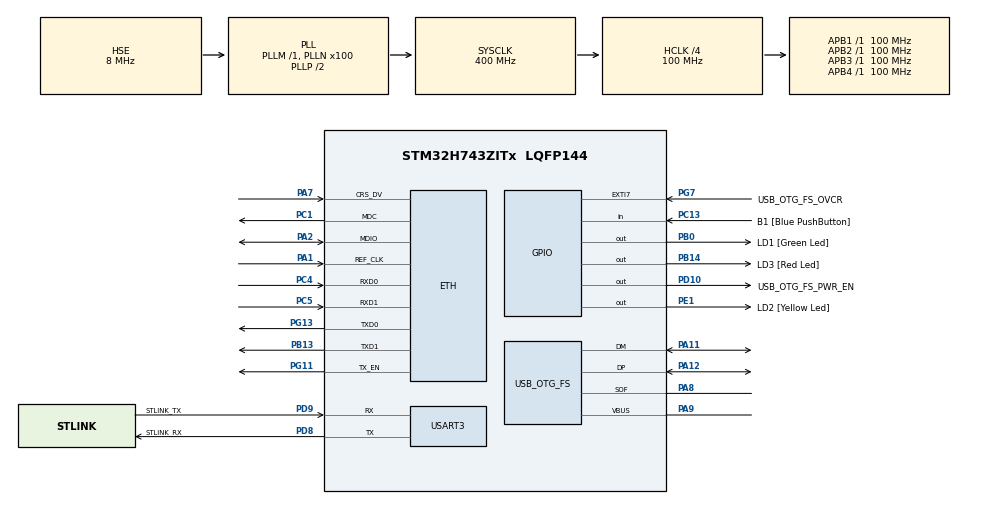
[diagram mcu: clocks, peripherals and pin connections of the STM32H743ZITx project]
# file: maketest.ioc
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ETH.MediaInterface=HAL_ETH_RMII_MODE
Mcu.Family=STM32H7
Mcu.Name=STM32H743ZITx
Mcu.Package=LQFP144
NVIC.PriorityGroup=NVIC_PRIORITYGROUP_4
NVIC.USART3_IRQn=true\:0\:0\:false\:false\:true\:true\:true
PA1.Mode=RMII
PA1.Signal=ETH_REF_CLK
PA11.Mode=Device_Only
PA11.Signal=USB_OTG_FS_DM
PA12.Mode=Device_Only
PA12.Signal=USB_OTG_FS_DP
PA13\ (JTMS/SWDIO).Mode=Trace_Asynchronous_SW
PA13\ (JTMS/SWDIO).Signal=DEBUG_JTMS-SWDIO
PA14\ (JTCK/SWCLK).Mode=Trace_Asynchronous_SW
PA14\ (JTCK/SWCLK).Signal=DEBUG_JTCK-SWCLK
PA2.Mode=RMII
PA2.Signal=ETH_MDIO
PA7.Mode=RMII
PA7.Signal=ETH_CRS_DV
PA8.Mode=Activate_SOF_FS
PA8.Signal=USB_OTG_FS_SOF
PA9.Mode=Activate_VBUS
PA9.Signal=USB_OTG_FS_VBUS
PB0.GPIO_Label=LD1 [Green Led]
PB0.Signal=GPIO_Output
PB13.Mode=RMII
PB13.Signal=ETH_TXD1
PB14.GPIO_Label=LD3 [Red Led]
PB14.Signal=GPIO_Output
PB3\ (JTDO/TRACESWO).Mode=Trace_Asynchronous_SW
PB3\ (JTDO/TRACESWO).Signal=DEBUG_JTDO-SWO
PC1.Mode=RMII
PC1.Signal=ETH_MDC
PC13.GPIO_Label=B1 [Blue PushButton]
PC13.Signal=GPIO_Input
PC14-OSC32_IN\ (OSC32_IN).Mode=LSE-External-Oscillator
PC14-OSC32_IN\ (OSC32_IN).Signal=RCC_OSC32_IN
PC15-OSC32_OUT\ (OSC32_OUT).Mode=LSE-External-Oscillator
PC15-OSC32_OUT\ (OSC32_OUT).Signal=RCC_OSC32_OUT
PC4.Mode=RMII
PC4.Signal=ETH_RXD0
PC5.Mode=RMII
PC5.Signal=ETH_RXD1
PD10.GPIO_Label=USB_OTG_FS_PWR_EN
PD10.Signal=GPIO_Output
PD8.GPIO_Label=STLINK_RX
PD8.Mode=Asynchronous
PD8.Signal=USART3_TX
PD9.GPIO_Label=STLINK_TX
PD9.Mode=Asynchronous
PD9.Signal=USART3_RX
PE1.GPIO_Label=LD2 [Yellow Led]
PE1.Signal=GPIO_Output
PG11.Mode=RMII
PG11.Signal=ETH_TX_EN
PG13.Mode=RMII
PG13.Signal=ETH_TXD0
PG7.GPIO_Label=USB_OTG_FS_OVCR
PG7.Signal=GPXTI7
PH0-OSC_IN\ (PH0).Mode=HSE-External-Clock-Source
PH0-OSC_IN\ (PH0).Signal=RCC_OSC_IN
PH1-OSC_OUT\ (PH1).Mode=HSE-External-Clock-Source
PH1-OSC_OUT\ (PH1).Signal=RCC_OSC_OUT
ProjectManager.HeapSize=0x200
ProjectManager.StackSize=0x400
ProjectManager.TargetToolchain=Makefile
RCC.ADCFreq_Value=16125000
RCC.APB1Freq_Value=100000000
RCC.APB2Freq_Value=100000000
RCC.APB3Freq_Value=100000000
RCC.APB4Freq_Value=100000000
RCC.CortexFreq_Value=400000000
RCC.DIVM1=1
RCC.DIVM3=1
RCC.DIVN1=100
RCC.DIVN3=24
RCC.DIVQ3=4
RCC.HCLKFreq_Value=100000000
RCC.HPRE=RCC_HCLK_DIV4
RCC.HSE_VALUE=8000000
RCC.PLL2FRACN=0
RCC.PLL3FRACN=0
RCC.PLLFRACN=0
RCC.SYSCLKFreq_VALUE=400000000
RCC.SYSCLKSource=RCC_SYSCLKSOURCE_PLLCLK
RCC.USBCLockSelection=RCC_USBCLKSOURCE_PLL3
RCC.USBFreq_Value=48000000
USART3.FIFOMode=FIFOMODE_DISABLE
USART3.OverrunDisableParam=ADVFEATURE_OVERRUN_DISABLE
USART3.VirtualMode-Asynchronous=VM_ASYNC
USB_OTG_FS.VirtualMode=Device_Only
VP_CRC_VS_CRC.Mode=CRC_Activate
VP_RTC_VS_RTC_Activate.Mode=RTC_Enabled
board=NUCLEO-H743ZI2

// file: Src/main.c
/* USER CODE BEGIN Header */
/**
  ******************************************************************************
  * @file           : main.c
  * @brief          : Main program body
  ******************************************************************************
  * @attention
  *
  * <h2><center>&copy; Copyright (c) 2019 STMicroelectronics.
  * All rights reserved.</center></h2>
  *
  * This software component is licensed by ST under BSD 3-Clause license,
  * the "License"; You may not use this file except in compliance with the
  * License. You may obtain a copy of the License at:
  *                        opensource.org/licenses/BSD-3-Clause
  *
  ******************************************************************************
  */
/* USER CODE END Header */

#include "main.h"
#include "string.h"

/* USER CODE BEGIN Includes */
#include "uart_test.h"
/* USER CODE END Includes */

#if defined ( __ICCARM__ ) /*!< IAR Compiler */

#pragma location=0x30040000
ETH_DMADescTypeDef  DMARxDscrTab[ETH_RX_DESC_CNT]; /* Ethernet Rx DMA Descriptors */
#pragma location=0x30040060
ETH_DMADescTypeDef  DMATxDscrTab[ETH_TX_DESC_CNT]; /* Ethernet Tx DMA Descriptors */
#pragma location=0x30040200
uint8_t Rx_Buff[ETH_RX_DESC_CNT][ETH_MAX_PACKET_SIZE]; /* Ethernet Receive Buffers */

#elif defined ( __CC_ARM )  /* MDK ARM Compiler */

__attribute__((at(0x30040000))) ETH_DMADescTypeDef  DMARxDscrTab[ETH_RX_DESC_CNT]; /* Ethernet Rx DMA Descriptors */
__attribute__((at(0x30040060))) ETH_DMADescTypeDef  DMATxDscrTab[ETH_TX_DESC_CNT]; /* Ethernet Tx DMA Descriptors */
__attribute__((at(0x30040200))) uint8_t Rx_Buff[ETH_RX_DESC_CNT][ETH_MAX_PACKET_SIZE]; /* Ethernet Receive Buffer */

#elif defined ( __GNUC__ ) /* GNU Compiler */

ETH_DMADescTypeDef DMARxDscrTab[ETH_RX_DESC_CNT] __attribute__((section(".RxDecripSection"))); /* Ethernet Rx DMA Descriptors */
ETH_DMADescTypeDef DMATxDscrTab[ETH_TX_DESC_CNT] __attribute__((section(".TxDecripSection")));   /* Ethernet Tx DMA Descriptors */
uint8_t Rx_Buff[ETH_RX_DESC_CNT][ETH_MAX_PACKET_SIZE] __attribute__((section(".RxArraySection"))); /* Ethernet Receive Buffers */

#endif

ETH_TxPacketConfig TxConfig;

CRC_HandleTypeDef hcrc;

ETH_HandleTypeDef heth;

RTC_HandleTypeDef hrtc;

UART_HandleTypeDef huart3;

PCD_HandleTypeDef hpcd_USB_OTG_FS;

void SystemClock_Config(void);
static void MX_GPIO_Init(void);
static void MX_ETH_Init(void);
static void MX_USART3_UART_Init(void);
static void MX_USB_OTG_FS_PCD_Init(void);
static void MX_RTC_Init(void);
static void MX_CRC_Init(void);

/* USER CODE BEGIN 0 */
#include <stdio.h>
int _write(int file, char *ptr, int len)
{
  HAL_UART_Transmit(&huart3, (uint8_t*)ptr, len, 0xFF);

  for (int i = 0 ; i < len ; i++)
  {
    ITM_SendChar((*ptr++));
  }

  return len;
}

#define LD1_SET(enable) HAL_GPIO_WritePin(LD1_GPIO_Port, LD1_Pin, (enable?GPIO_PIN_SET:GPIO_PIN_RESET));
#define LD2_SET(enable) HAL_GPIO_WritePin(LD2_GPIO_Port, LD2_Pin, (enable?GPIO_PIN_SET:GPIO_PIN_RESET));
#define LD3_SET(enable) HAL_GPIO_WritePin(LD3_GPIO_Port, LD3_Pin, (enable?GPIO_PIN_SET:GPIO_PIN_RESET));

/* USER CODE END 0 */

int main(void)
{

  /* MCU Configuration--------------------------------------------------------*/

  /* Reset of all peripherals, Initializes the Flash interface and the Systick. */
  HAL_Init();

  /* Configure the system clock */
  SystemClock_Config();

  /* Initialize all configured peripherals */
  MX_GPIO_Init();
  MX_ETH_Init();
  MX_USART3_UART_Init();
  MX_USB_OTG_FS_PCD_Init();
  MX_RTC_Init();
  MX_CRC_Init();

  /* Infinite loop */
  /* USER CODE BEGIN WHILE */
  while (1)
  {
#if 1
    //printf("on\r\n");
    LD1_SET(1);  HAL_Delay(100);
    LD2_SET(1);  HAL_Delay(100);
    LD3_SET(1);  HAL_Delay(100);

    //printf("off\r\n");
    LD1_SET(0); HAL_Delay(100);
    LD2_SET(0); HAL_Delay(100);
    LD3_SET(0); HAL_Delay(100);
#endif

    uart_ISR_test(&huart3);

    /* USER CODE END WHILE */

  }
}

void SystemClock_Config(void)
{
  RCC_OscInitTypeDef RCC_OscInitStruct = {0};
  RCC_ClkInitTypeDef RCC_ClkInitStruct = {0};
  RCC_PeriphCLKInitTypeDef PeriphClkInitStruct = {0};

  /** Supply configuration update enable
  */
  HAL_PWREx_ConfigSupply(PWR_LDO_SUPPLY);
  /** Configure the main internal regulator output voltage
  */
  __HAL_PWR_VOLTAGESCALING_CONFIG(PWR_REGULATOR_VOLTAGE_SCALE1);

  while (!__HAL_PWR_GET_FLAG(PWR_FLAG_VOSRDY)) {}
  /** Macro to configure the PLL clock source
  */
  __HAL_RCC_PLL_PLLSOURCE_CONFIG(RCC_PLLSOURCE_HSE);
  /** Initializes the CPU, AHB and APB busses clocks
  */
  RCC_OscInitStruct.OscillatorType = RCC_OSCILLATORTYPE_LSI | RCC_OSCILLATORTYPE_HSE;
  RCC_OscInitStruct.HSEState = RCC_HSE_BYPASS;
  RCC_OscInitStruct.LSIState = RCC_LSI_ON;
  RCC_OscInitStruct.PLL.PLLState = RCC_PLL_ON;
  RCC_OscInitStruct.PLL.PLLSource = RCC_PLLSOURCE_HSE;
  RCC_OscInitStruct.PLL.PLLM = 1;
  RCC_OscInitStruct.PLL.PLLN = 100;
  RCC_OscInitStruct.PLL.PLLP = 2;
  RCC_OscInitStruct.PLL.PLLQ = 2;
  RCC_OscInitStruct.PLL.PLLR = 2;
  RCC_OscInitStruct.PLL.PLLRGE = RCC_PLL1VCIRANGE_3;
  RCC_OscInitStruct.PLL.PLLVCOSEL = RCC_PLL1VCOWIDE;
  RCC_OscInitStruct.PLL.PLLFRACN = 0;
  if (HAL_RCC_OscConfig(&RCC_OscInitStruct) != HAL_OK)
  {
    Error_Handler();
  }
  /** Initializes the CPU, AHB and APB busses clocks
  */
  RCC_ClkInitStruct.ClockType = RCC_CLOCKTYPE_HCLK | RCC_CLOCKTYPE_SYSCLK
                                | RCC_CLOCKTYPE_PCLK1 | RCC_CLOCKTYPE_PCLK2
                                | RCC_CLOCKTYPE_D3PCLK1 | RCC_CLOCKTYPE_D1PCLK1;
  RCC_ClkInitStruct.SYSCLKSource = RCC_SYSCLKSOURCE_PLLCLK;
  RCC_ClkInitStruct.SYSCLKDivider = RCC_SYSCLK_DIV1;
  RCC_ClkInitStruct.AHBCLKDivider = RCC_HCLK_DIV4;
  RCC_ClkInitStruct.APB3CLKDivider = RCC_APB3_DIV1;
  RCC_ClkInitStruct.APB1CLKDivider = RCC_APB1_DIV1;
  RCC_ClkInitStruct.APB2CLKDivider = RCC_APB2_DIV1;
  RCC_ClkInitStruct.APB4CLKDivider = RCC_APB4_DIV1;

  if (HAL_RCC_ClockConfig(&RCC_ClkInitStruct, FLASH_LATENCY_1) != HAL_OK)
  {
    Error_Handler();
  }
  PeriphClkInitStruct.PeriphClockSelection = RCC_PERIPHCLK_RTC | RCC_PERIPHCLK_USART3
      | RCC_PERIPHCLK_USB;
  PeriphClkInitStruct.PLL3.PLL3M = 1;
  PeriphClkInitStruct.PLL3.PLL3N = 24;
  PeriphClkInitStruct.PLL3.PLL3P = 2;
  PeriphClkInitStruct.PLL3.PLL3Q = 4;
  PeriphClkInitStruct.PLL3.PLL3R = 2;
  PeriphClkInitStruct.PLL3.PLL3RGE = RCC_PLL3VCIRANGE_3;
  PeriphClkInitStruct.PLL3.PLL3VCOSEL = RCC_PLL3VCOWIDE;
  PeriphClkInitStruct.PLL3.PLL3FRACN = 0;
  PeriphClkInitStruct.Usart234578ClockSelection = RCC_USART234578CLKSOURCE_D2PCLK1;
  PeriphClkInitStruct.UsbClockSelection = RCC_USBCLKSOURCE_PLL3;
  PeriphClkInitStruct.RTCClockSelection = RCC_RTCCLKSOURCE_LSI;
  if (HAL_RCCEx_PeriphCLKConfig(&PeriphClkInitStruct) != HAL_OK)
  {
    Error_Handler();
  }
  /** Enable USB Voltage detector
  */
  HAL_PWREx_EnableUSBVoltageDetector();
}

static void MX_CRC_Init(void)
{

  hcrc.Instance = CRC;
  hcrc.Init.DefaultPolynomialUse = DEFAULT_POLYNOMIAL_ENABLE;
  hcrc.Init.DefaultInitValueUse = DEFAULT_INIT_VALUE_ENABLE;
  hcrc.Init.InputDataInversionMode = CRC_INPUTDATA_INVERSION_NONE;
  hcrc.Init.OutputDataInversionMode = CRC_OUTPUTDATA_INVERSION_DISABLE;
  hcrc.InputDataFormat = CRC_INPUTDATA_FORMAT_BYTES;
  if (HAL_CRC_Init(&hcrc) != HAL_OK)
  {
    Error_Handler();
  }

}

static void MX_ETH_Init(void)
{

  heth.Instance = ETH;
  heth.Init.MACAddr[0] =   0x00;
  heth.Init.MACAddr[1] =   0x80;
  heth.Init.MACAddr[2] =   0xE1;
  heth.Init.MACAddr[3] =   0x00;
  heth.Init.MACAddr[4] =   0x00;
  heth.Init.MACAddr[5] =   0x00;
  heth.Init.MediaInterface = HAL_ETH_RMII_MODE;
  heth.Init.TxDesc = DMATxDscrTab;
  heth.Init.RxDesc = DMARxDscrTab;
  heth.Init.RxBuffLen = 1524;

  if (HAL_ETH_Init(&heth) != HAL_OK)
  {
    Error_Handler();
  }

  memset(&TxConfig, 0 , sizeof(ETH_TxPacketConfig));
  TxConfig.Attributes = ETH_TX_PACKETS_FEATURES_CSUM | ETH_TX_PACKETS_FEATURES_CRCPAD;
  TxConfig.ChecksumCtrl = ETH_CHECKSUM_IPHDR_PAYLOAD_INSERT_PHDR_CALC;
  TxConfig.CRCPadCtrl = ETH_CRC_PAD_INSERT;

}

static void MX_RTC_Init(void)
{

  /** Initialize RTC Only
  */
  hrtc.Instance = RTC;
  hrtc.Init.HourFormat = RTC_HOURFORMAT_24;
  hrtc.Init.AsynchPrediv = 127;
  hrtc.Init.SynchPrediv = 255;
  hrtc.Init.OutPut = RTC_OUTPUT_DISABLE;
  hrtc.Init.OutPutPolarity = RTC_OUTPUT_POLARITY_HIGH;
  hrtc.Init.OutPutType = RTC_OUTPUT_TYPE_OPENDRAIN;
  hrtc.Init.OutPutRemap = RTC_OUTPUT_REMAP_NONE;
  if (HAL_RTC_Init(&hrtc) != HAL_OK)
  {
    Error_Handler();
  }

}

static void MX_USART3_UART_Init(void)
{

  huart3.Instance = USART3;
  huart3.Init.BaudRate = 115200;
  huart3.Init.WordLength = UART_WORDLENGTH_8B;
  huart3.Init.StopBits = UART_STOPBITS_1;
  huart3.Init.Parity = UART_PARITY_NONE;
  huart3.Init.Mode = UART_MODE_TX_RX;
  huart3.Init.HwFlowCtl = UART_HWCONTROL_NONE;
  huart3.Init.OverSampling = UART_OVERSAMPLING_16;
  huart3.Init.OneBitSampling = UART_ONE_BIT_SAMPLE_DISABLE;
  huart3.Init.ClockPrescaler = UART_PRESCALER_DIV1;
  huart3.AdvancedInit.AdvFeatureInit = UART_ADVFEATURE_RXOVERRUNDISABLE_INIT;
  huart3.AdvancedInit.OverrunDisable = UART_ADVFEATURE_OVERRUN_DISABLE;
  if (HAL_UART_Init(&huart3) != HAL_OK)
  {
    Error_Handler();
  }
  if (HAL_UARTEx_SetTxFifoThreshold(&huart3, UART_TXFIFO_THRESHOLD_1_8) != HAL_OK)
  {
    Error_Handler();
  }
  if (HAL_UARTEx_SetRxFifoThreshold(&huart3, UART_RXFIFO_THRESHOLD_1_8) != HAL_OK)
  {
    Error_Handler();
  }
  if (HAL_UARTEx_DisableFifoMode(&huart3) != HAL_OK)
  {
    Error_Handler();
  }

}

static void MX_USB_OTG_FS_PCD_Init(void)
{

  hpcd_USB_OTG_FS.Instance = USB_OTG_FS;
  hpcd_USB_OTG_FS.Init.dev_endpoints = 9;
  hpcd_USB_OTG_FS.Init.speed = PCD_SPEED_FULL;
  hpcd_USB_OTG_FS.Init.dma_enable = DISABLE;
  hpcd_USB_OTG_FS.Init.phy_itface = PCD_PHY_EMBEDDED;
  hpcd_USB_OTG_FS.Init.Sof_enable = ENABLE;
  hpcd_USB_OTG_FS.Init.low_power_enable = DISABLE;
  hpcd_USB_OTG_FS.Init.lpm_enable = DISABLE;
  hpcd_USB_OTG_FS.Init.battery_charging_enable = ENABLE;
  hpcd_USB_OTG_FS.Init.vbus_sensing_enable = ENABLE;
  hpcd_USB_OTG_FS.Init.use_dedicated_ep1 = DISABLE;
  if (HAL_PCD_Init(&hpcd_USB_OTG_FS) != HAL_OK)
  {
    Error_Handler();
  }

}

static void MX_GPIO_Init(void)
{
  GPIO_InitTypeDef GPIO_InitStruct = {0};

  /* GPIO Ports Clock Enable */
  __HAL_RCC_GPIOC_CLK_ENABLE();
  __HAL_RCC_GPIOH_CLK_ENABLE();
  __HAL_RCC_GPIOA_CLK_ENABLE();
  __HAL_RCC_GPIOB_CLK_ENABLE();
  __HAL_RCC_GPIOD_CLK_ENABLE();
  __HAL_RCC_GPIOG_CLK_ENABLE();
  __HAL_RCC_GPIOE_CLK_ENABLE();

  /*Configure GPIO pin Output Level */
  HAL_GPIO_WritePin(GPIOB, LD1_Pin | LD3_Pin, GPIO_PIN_RESET);

  /*Configure GPIO pin Output Level */
  HAL_GPIO_WritePin(USB_OTG_FS_PWR_EN_GPIO_Port, USB_OTG_FS_PWR_EN_Pin, GPIO_PIN_RESET);

  /*Configure GPIO pin Output Level */
  HAL_GPIO_WritePin(LD2_GPIO_Port, LD2_Pin, GPIO_PIN_RESET);

  /*Configure GPIO pin : B1_Pin */
  GPIO_InitStruct.Pin = B1_Pin;
  GPIO_InitStruct.Mode = GPIO_MODE_INPUT;
  GPIO_InitStruct.Pull = GPIO_NOPULL;
  HAL_GPIO_Init(B1_GPIO_Port, &GPIO_InitStruct);

  /*Configure GPIO pins : LD1_Pin LD3_Pin */
  GPIO_InitStruct.Pin = LD1_Pin | LD3_Pin;
  GPIO_InitStruct.Mode = GPIO_MODE_OUTPUT_PP;
  GPIO_InitStruct.Pull = GPIO_NOPULL;
  GPIO_InitStruct.Speed = GPIO_SPEED_FREQ_LOW;
  HAL_GPIO_Init(GPIOB, &GPIO_InitStruct);

  /*Configure GPIO pin : USB_OTG_FS_PWR_EN_Pin */
  GPIO_InitStruct.Pin = USB_OTG_FS_PWR_EN_Pin;
  GPIO_InitStruct.Mode = GPIO_MODE_OUTPUT_PP;
  GPIO_InitStruct.Pull = GPIO_NOPULL;
  GPIO_InitStruct.Speed = GPIO_SPEED_FREQ_LOW;
  HAL_GPIO_Init(USB_OTG_FS_PWR_EN_GPIO_Port, &GPIO_InitStruct);

  /*Configure GPIO pin : USB_OTG_FS_OVCR_Pin */
  GPIO_InitStruct.Pin = USB_OTG_FS_OVCR_Pin;
  GPIO_InitStruct.Mode = GPIO_MODE_IT_RISING;
  GPIO_InitStruct.Pull = GPIO_NOPULL;
  HAL_GPIO_Init(USB_OTG_FS_OVCR_GPIO_Port, &GPIO_InitStruct);

  /*Configure GPIO pin : LD2_Pin */
  GPIO_InitStruct.Pin = LD2_Pin;
  GPIO_InitStruct.Mode = GPIO_MODE_OUTPUT_PP;
  GPIO_InitStruct.Pull = GPIO_NOPULL;
  GPIO_InitStruct.Speed = GPIO_SPEED_FREQ_LOW;
  HAL_GPIO_Init(LD2_GPIO_Port, &GPIO_InitStruct);

}

void Error_Handler(void)
{
}

/************************ (C) COPYRIGHT STMicroelectronics *****END OF FILE****/
